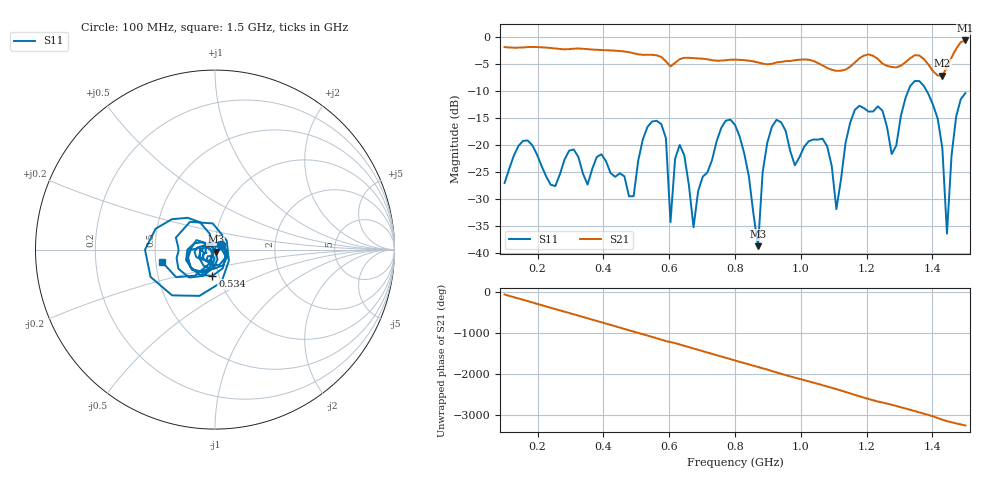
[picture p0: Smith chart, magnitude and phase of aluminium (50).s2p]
! NanoVNA-App
! Date: 2025-09-26 09:58:27
! Start: 100MHz Stop: 1,5GHz Points: 101
! S-Parameter data: F S11 S21 S12 S22
# Hz S RI R 50
!  Frequency  S11_Real  S11_Imag  S21_Real  S21_Imag  S12_Real  S12_Imag  S22_Real  S22_Imag
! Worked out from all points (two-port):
!   101 points, 100 MHz to 1.5 GHz, reference 50 ohm
!   highest |S21| = -0.69 dB at 1.5 GHz (marker M1); lowest = -7.2 dB at 1.43 GHz (marker M2)
!   |S21| within 3 dB of the highest: start of sweep to 574 MHz; 1.186 GHz to 1.224 GHz (37.9 MHz wide, 3.15 % of centre) (the widest 2 of 4)
!   lowest |S11| = -38.7 dB at 870 MHz (marker M3), VSWR 1.02, Z = 50.4 - j1.11 ohm
!   |S11| at or under -10 dB: start of sweep to 1.326 GHz; 1.382 GHz to end of sweep
!   S12 and S22 are empty: the file has one direction only
!   S11 on the Smith chart (normalised r, x): 100 MHz: 1.07, +0.06; 534 MHz: 0.93, -0.28; 1.5 GHz: 0.54, -0.08
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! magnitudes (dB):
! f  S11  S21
! 100 MHz  -27.0  -1.9
! 156 MHz  -19.2  -2.0
! 338 MHz  -25.3  -2.2
! 492 MHz  -29.4  -3.1
! 534 MHz  -16.7  -3.3
! 576 MHz  -16.1  -3.7
! 590 MHz  -18.7  -4.5
! 604 MHz  -34.2  -5.5
! 632 MHz  -20.0  -4.1
! 674 MHz  -35.2  -4.0
! 800 MHz  -16.3  -4.2
! 870 MHz  -38.7  -4.7
! 912 MHz  -16.6  -5.0
! 1.038 GHz  -19.0  -4.5
! 1.108 GHz  -31.8  -6.3
! 1.164 GHz  -13.5  -4.8
! 1.276 GHz  -21.7  -5.6
! 1.346 GHz  -8.2  -3.4
! 1.43 GHz  -20.6  -7.2
! 1.444 GHz  -36.3  -5.6
! 1.472 GHz  -14.7  -2.2
! 1.5 GHz  -10.4  -0.7
